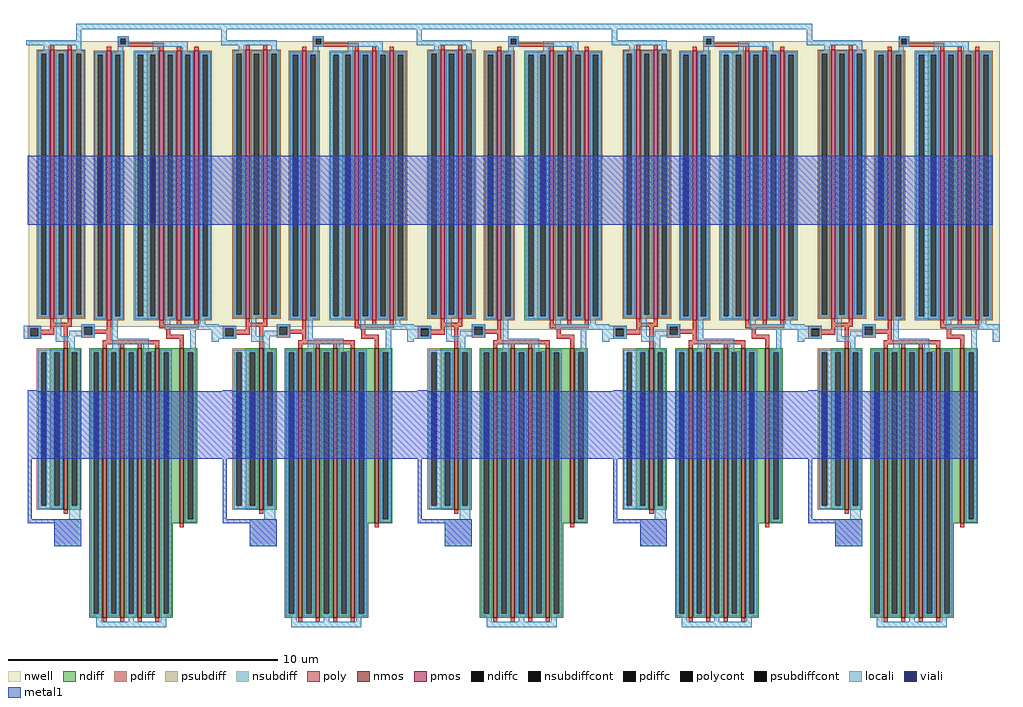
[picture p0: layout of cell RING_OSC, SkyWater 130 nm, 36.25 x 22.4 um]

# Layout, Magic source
magic
tech sky130A
<< nwell >>
rect 670 1745 830 2170
rect 1410 1745 3610 2170
rect 625 1490 3610 1745
rect 670 1110 830 1490
rect 1410 1100 3610 1490
<< locali >>
rect 185 2215 2920 2235
rect 185 2175 205 2215
rect 725 2175 745 2215
rect 1450 2175 1470 2215
rect 2175 2175 2195 2215
rect 2900 2175 2920 2215
rect 910 2170 930 2175
<< metal1 >>
rect 625 1490 3590 1745
rect 50 620 3535 870
use inv_new  inv_new_0
transform 1 0 3160 0 1 395
box -270 -400 455 1795
use inv_new  inv_new_1
transform 1 0 260 0 1 395
box -270 -400 455 1795
use inv_new  inv_new_2
transform 1 0 985 0 1 395
box -270 -400 455 1795
use inv_new  inv_new_3
transform 1 0 1710 0 1 395
box -270 -400 455 1795
use inv_new  inv_new_4
transform 1 0 2435 0 1 395
box -270 -400 455 1795
<< end >>

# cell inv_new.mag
magic
tech sky130A
<< nwell >>
rect -250 715 455 1775
<< nmos >>
rect -120 35 -105 635
rect 25 -365 40 635
rect 90 -365 105 635
rect 155 -365 170 635
rect 220 -365 235 635
rect 310 -15 325 635
<< pmos >>
rect -170 745 -155 1745
rect -105 745 -90 1745
rect 40 740 55 1740
rect 235 740 250 1740
rect 300 740 315 1740
rect 365 740 380 1740
<< ndiff >>
rect -170 620 -120 635
rect -170 50 -155 620
rect -135 50 -120 620
rect -170 35 -120 50
rect -105 620 -55 635
rect -105 50 -90 620
rect -70 50 -55 620
rect -105 35 -55 50
rect -25 620 25 635
rect -25 -350 -10 620
rect 10 -350 25 620
rect -25 -365 25 -350
rect 40 620 90 635
rect 40 -350 55 620
rect 75 -350 90 620
rect 40 -365 90 -350
rect 105 620 155 635
rect 105 -350 120 620
rect 140 -350 155 620
rect 105 -365 155 -350
rect 170 620 220 635
rect 170 -350 185 620
rect 205 -350 220 620
rect 170 -365 220 -350
rect 235 620 310 635
rect 235 -350 250 620
rect 270 -15 310 620
rect 325 620 375 635
rect 325 0 340 620
rect 360 0 375 620
rect 325 -15 375 0
rect 270 -350 285 -15
rect 235 -365 285 -350
<< pdiff >>
rect -220 1730 -170 1745
rect -220 760 -205 1730
rect -185 760 -170 1730
rect -220 745 -170 760
rect -155 1730 -105 1745
rect -155 760 -140 1730
rect -120 760 -105 1730
rect -155 745 -105 760
rect -90 1730 -40 1745
rect -90 760 -75 1730
rect -55 760 -40 1730
rect -90 745 -40 760
rect -10 1725 40 1740
rect -10 755 5 1725
rect 25 755 40 1725
rect -10 740 40 755
rect 55 1725 105 1740
rect 55 755 70 1725
rect 90 755 105 1725
rect 55 740 105 755
rect 190 1725 235 1740
rect 190 755 200 1725
rect 220 755 235 1725
rect 190 740 235 755
rect 250 1725 300 1740
rect 250 755 265 1725
rect 285 755 300 1725
rect 250 740 300 755
rect 315 1725 365 1740
rect 315 755 330 1725
rect 350 755 365 1725
rect 315 740 365 755
rect 380 1725 430 1740
rect 380 755 395 1725
rect 415 755 430 1725
rect 380 740 430 755
<< ndiffc >>
rect -155 50 -135 620
rect -90 50 -70 620
rect -10 -350 10 620
rect 55 -350 75 620
rect 120 -350 140 620
rect 185 -350 205 620
rect 250 -350 270 620
rect 340 0 360 620
<< pdiffc >>
rect -205 760 -185 1730
rect -140 760 -120 1730
rect -75 760 -55 1730
rect 5 755 25 1725
rect 70 755 90 1725
rect 200 755 220 1725
rect 265 755 285 1725
rect 330 755 350 1725
rect 395 755 415 1725
<< psubdiff >>
rect -220 620 -170 635
rect -220 50 -205 620
rect -185 50 -170 620
rect -220 35 -170 50
<< nsubdiff >>
rect 140 1725 190 1740
rect 140 755 155 1725
rect 175 755 190 1725
rect 140 740 190 755
<< psubdiffcont >>
rect -205 50 -185 620
<< nsubdiffcont >>
rect 155 755 175 1725
<< poly >>
rect 80 1785 120 1795
rect 80 1765 90 1785
rect 110 1770 120 1785
rect 110 1765 250 1770
rect -170 1745 -155 1760
rect -105 1745 -90 1760
rect 80 1755 250 1765
rect 40 1740 55 1755
rect 235 1740 250 1755
rect 300 1740 315 1755
rect 365 1740 380 1755
rect -170 730 -155 745
rect -105 730 -90 745
rect -255 710 -205 720
rect -255 680 -245 710
rect -215 705 -205 710
rect -170 715 -90 730
rect -55 715 -5 725
rect -170 705 -155 715
rect -215 685 -155 705
rect -215 680 -205 685
rect -255 670 -205 680
rect -120 635 -105 715
rect -55 685 -45 715
rect -15 705 -5 715
rect 40 705 55 740
rect 235 725 250 740
rect 300 725 315 740
rect 365 725 380 740
rect 235 710 380 725
rect -15 690 55 705
rect -15 685 -5 690
rect -55 675 -5 685
rect 40 665 55 690
rect 260 685 275 710
rect 260 670 325 685
rect 25 650 235 665
rect 25 635 40 650
rect 90 635 105 650
rect 155 635 170 650
rect 220 635 235 650
rect 310 635 325 670
rect -120 20 -105 35
rect 310 -30 325 -15
rect 25 -380 40 -365
rect 90 -380 105 -365
rect 155 -380 170 -365
rect 220 -380 235 -365
<< polycont >>
rect 90 1765 110 1785
rect -245 680 -215 710
rect -45 685 -15 715
<< locali >>
rect 80 1785 120 1795
rect -260 1760 -55 1780
rect -195 1740 -175 1760
rect -75 1740 -55 1760
rect 80 1765 90 1785
rect 110 1765 120 1785
rect 80 1755 120 1765
rect 210 1755 340 1775
rect -215 1730 -175 1740
rect -215 760 -205 1730
rect -185 760 -175 1730
rect -215 750 -175 760
rect -150 1730 -110 1740
rect -150 760 -140 1730
rect -120 760 -110 1730
rect -150 750 -110 760
rect -85 1730 -45 1740
rect 80 1735 100 1755
rect 210 1735 230 1755
rect 320 1735 340 1755
rect -85 760 -75 1730
rect -55 760 -45 1730
rect -85 750 -45 760
rect -5 1725 35 1735
rect -5 755 5 1725
rect 25 755 35 1725
rect -270 710 -205 720
rect -270 680 -245 710
rect -215 680 -205 710
rect -270 670 -205 680
rect -150 680 -130 750
rect -5 745 35 755
rect 60 1725 100 1735
rect 60 755 70 1725
rect 90 755 100 1725
rect 60 745 100 755
rect 145 1725 230 1735
rect 145 755 155 1725
rect 175 755 200 1725
rect 220 755 230 1725
rect 145 745 230 755
rect 255 1725 295 1735
rect 255 755 265 1725
rect 285 755 295 1725
rect 255 745 295 755
rect 320 1725 360 1735
rect 320 755 330 1725
rect 350 755 360 1725
rect 320 745 360 755
rect 385 1725 425 1735
rect 385 755 395 1725
rect 415 755 425 1725
rect 385 745 425 755
rect -55 715 -5 725
rect -55 700 -45 715
rect -100 685 -45 700
rect -15 685 -5 715
rect -100 680 -5 685
rect -150 660 -80 680
rect -55 675 -5 680
rect -100 630 -80 660
rect 60 670 80 745
rect 255 725 275 745
rect 385 725 405 745
rect 255 705 455 725
rect 60 650 195 670
rect 60 630 85 650
rect -215 620 -125 630
rect -215 50 -205 620
rect -185 50 -155 620
rect -135 50 -125 620
rect -215 40 -125 50
rect -100 620 -60 630
rect -100 50 -90 620
rect -70 50 -60 620
rect -100 0 -60 50
rect -20 620 20 630
rect -155 -100 -55 0
rect -20 -350 -10 620
rect 10 -350 20 620
rect -20 -360 20 -350
rect 45 620 85 630
rect 45 -350 55 620
rect 75 -350 85 620
rect 45 -360 85 -350
rect 110 620 150 630
rect 110 -350 120 620
rect 140 -350 150 620
rect 110 -360 150 -350
rect 175 625 195 650
rect 350 630 370 705
rect 430 660 455 705
rect 175 620 215 625
rect 175 -350 185 620
rect 205 -350 215 620
rect 175 -360 215 -350
rect 240 620 280 630
rect 240 -350 250 620
rect 270 -350 280 620
rect 330 620 370 630
rect 330 0 340 620
rect 360 0 370 620
rect 330 -10 370 0
rect 240 -360 280 -350
rect 0 -380 20 -360
rect 120 -380 140 -360
rect 240 -380 260 -360
rect 0 -400 260 -380
<< viali >>
rect 5 1100 25 1345
rect 200 1100 220 1345
rect -205 230 -185 470
rect -155 230 -135 470
rect -10 230 10 470
rect 250 230 270 470
<< metal1 >>
rect -255 1345 430 1350
rect -255 1100 5 1345
rect 25 1100 200 1345
rect 220 1100 430 1345
rect -255 1095 430 1100
rect -255 475 -220 480
rect -255 470 375 475
rect -255 230 -205 470
rect -185 230 -155 470
rect -135 230 -10 470
rect 10 230 250 470
rect 270 230 375 470
rect -255 225 375 230
rect -255 0 -240 225
rect -255 -15 -55 0
rect -155 -100 -55 -15
<< labels >>
flabel locali 455 715 455 715 0 FreeSans 400 0 0 0 Q
port 1 nsew
flabel locali -270 695 -270 695 0 FreeSans 400 0 0 0 A
port 2 nsew
flabel locali -260 1770 -260 1770 0 FreeSans 400 0 0 0 VP
port 3 nsew
flabel metal1 -255 1225 -255 1225 0 FreeSans 400 0 0 0 VDD
port 4 nsew
flabel metal1 -155 -100 -55 0 0 FreeSans 360 0 0 0 C_L
flabel metal1 -255 340 -255 340 0 FreeSans 400 0 0 0 GND
port 5 nsew
<< end >>
